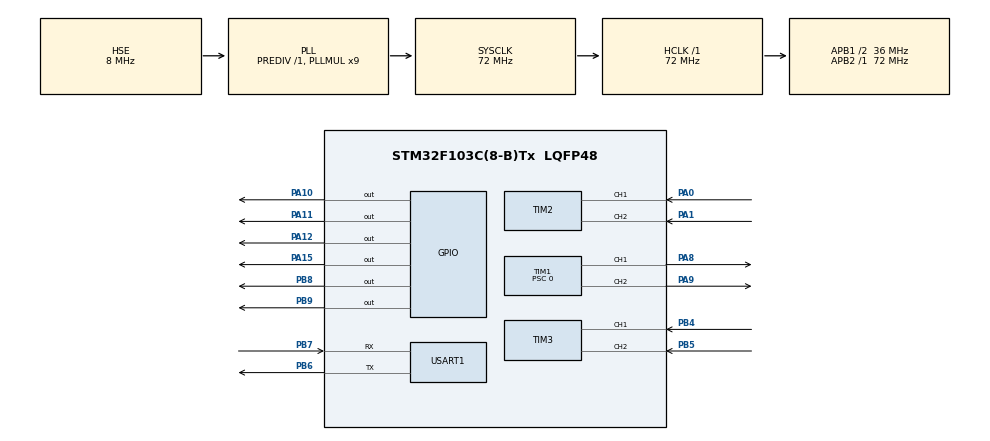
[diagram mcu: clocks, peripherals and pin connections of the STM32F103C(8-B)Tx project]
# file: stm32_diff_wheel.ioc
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Dma.Request0=USART1_RX
Dma.Request1=USART1_TX
Dma.USART1_RX.0.Direction=DMA_PERIPH_TO_MEMORY
Dma.USART1_RX.0.Instance=DMA1_Channel5
Dma.USART1_RX.0.MemDataAlignment=DMA_MDATAALIGN_BYTE
Dma.USART1_RX.0.MemInc=DMA_MINC_ENABLE
Dma.USART1_RX.0.Mode=DMA_CIRCULAR
Dma.USART1_RX.0.PeriphDataAlignment=DMA_PDATAALIGN_BYTE
Dma.USART1_RX.0.PeriphInc=DMA_PINC_DISABLE
Dma.USART1_RX.0.Priority=DMA_PRIORITY_VERY_HIGH
Dma.USART1_TX.1.Direction=DMA_MEMORY_TO_PERIPH
Dma.USART1_TX.1.Instance=DMA1_Channel4
Dma.USART1_TX.1.MemDataAlignment=DMA_MDATAALIGN_BYTE
Dma.USART1_TX.1.MemInc=DMA_MINC_ENABLE
Dma.USART1_TX.1.Mode=DMA_NORMAL
Dma.USART1_TX.1.PeriphDataAlignment=DMA_PDATAALIGN_BYTE
Dma.USART1_TX.1.PeriphInc=DMA_PINC_DISABLE
Dma.USART1_TX.1.Priority=DMA_PRIORITY_VERY_HIGH
Mcu.Family=STM32F1
Mcu.Name=STM32F103C(8-B)Tx
Mcu.Package=LQFP48
NVIC.DMA1_Channel4_IRQn=true\:0\:0\:true\:false\:true\:false\:true\:true
NVIC.DMA1_Channel5_IRQn=true\:0\:0\:true\:false\:true\:false\:true\:true
NVIC.PriorityGroup=NVIC_PRIORITYGROUP_4
NVIC.TIM4_IRQn=true\:0\:0\:false\:false\:true\:true\:true\:true
NVIC.USART1_IRQn=true\:0\:0\:true\:false\:true\:true\:true\:true
PA0-WKUP.Signal=S_TIM2_CH1_ETR
PA1.Signal=S_TIM2_CH2
PA10.Signal=GPIO_Output
PA11.Signal=GPIO_Output
PA12.Signal=GPIO_Output
PA13.Mode=Serial_Wire
PA13.Signal=SYS_JTMS-SWDIO
PA14.Mode=Serial_Wire
PA14.Signal=SYS_JTCK-SWCLK
PA15.Signal=GPIO_Output
PA8.Signal=S_TIM1_CH1
PA9.Signal=S_TIM1_CH2
PB4.Signal=S_TIM3_CH1
PB5.Signal=S_TIM3_CH2
PB6.Mode=Asynchronous
PB6.Signal=USART1_TX
PB7.Mode=Asynchronous
PB7.Signal=USART1_RX
PB8.GPIO_ModeDefaultOutputPP=GPIO_MODE_OUTPUT_OD
PB8.GPIO_PuPd=GPIO_NOPULL
PB8.Signal=GPIO_Output
PB9.GPIO_ModeDefaultOutputPP=GPIO_MODE_OUTPUT_OD
PB9.GPIO_PuPd=GPIO_NOPULL
PB9.Signal=GPIO_Output
PC14-OSC32_IN.Mode=LSE-External-Oscillator
PC14-OSC32_IN.Signal=RCC_OSC32_IN
PC15-OSC32_OUT.Mode=LSE-External-Oscillator
PC15-OSC32_OUT.Signal=RCC_OSC32_OUT
PD0-OSC_IN.Mode=HSE-External-Oscillator
PD0-OSC_IN.Signal=RCC_OSC_IN
PD1-OSC_OUT.Mode=HSE-External-Oscillator
PD1-OSC_OUT.Signal=RCC_OSC_OUT
ProjectManager.HeapSize=0x200
ProjectManager.StackSize=0x400
ProjectManager.TargetToolchain=STM32CubeIDE
RCC.AHBFreq_Value=72000000
RCC.APB1CLKDivider=RCC_HCLK_DIV2
RCC.APB1Freq_Value=36000000
RCC.APB1TimFreq_Value=72000000
RCC.APB2Freq_Value=72000000
RCC.APB2TimFreq_Value=72000000
RCC.HCLKFreq_Value=72000000
RCC.PLLMUL=RCC_PLL_MUL9
RCC.PLLSourceVirtual=RCC_PLLSOURCE_HSE
RCC.SYSCLKFreq_VALUE=72000000
RCC.SYSCLKSource=RCC_SYSCLKSOURCE_PLLCLK
RCC.USBFreq_Value=72000000
SH.S_TIM1_CH1.0=TIM1_CH1,PWM Generation1 CH1
SH.S_TIM1_CH2.0=TIM1_CH2,PWM Generation2 CH2
SH.S_TIM2_CH1_ETR.0=TIM2_CH1,Encoder_Interface
SH.S_TIM2_CH2.0=TIM2_CH2,Encoder_Interface
SH.S_TIM3_CH1.0=TIM3_CH1,Encoder_Interface
SH.S_TIM3_CH2.0=TIM3_CH2,Encoder_Interface
TIM1.Channel-PWM\ Generation1\ CH1=TIM_CHANNEL_1
TIM1.Channel-PWM\ Generation2\ CH2=TIM_CHANNEL_2
TIM1.OCMode_PWM-PWM\ Generation1\ CH1=TIM_OCMODE_PWM1
TIM1.OCMode_PWM-PWM\ Generation2\ CH2=TIM_OCMODE_PWM1
TIM1.Period=36000-1
TIM1.Prescaler=0
TIM2.EncoderMode=TIM_ENCODERMODE_TI12
TIM3.EncoderMode=TIM_ENCODERMODE_TI12
TIM4.Period=7199
TIM4.Prescaler=499
USART1.Parity=PARITY_NONE
USART1.VirtualMode=VM_ASYNC
VP_TIM1_VS_ClockSourceINT.Mode=Internal
VP_TIM4_VS_ClockSourceINT.Mode=Internal
board=custom

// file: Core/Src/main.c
/* USER CODE BEGIN Header */
/**
 ******************************************************************************
 * @file           : main.c
 * @brief          : Main program body
 ******************************************************************************
 * @attention
 *
 * Copyright (c) 2024 STMicroelectronics.
 * All rights reserved.
 *
 * This software is licensed under terms that can be found in the LICENSE file
 * in the root directory of this software component.
 * If no LICENSE file comes with this software, it is provided AS-IS.
 *
 ******************************************************************************
 */
/* USER CODE END Header */
#include "main.h"
#include "dma.h"
#include "tim.h"
#include "usart.h"
#include "gpio.h"

/* USER CODE BEGIN Includes */
#include "motor.h"
#include "message.h"
#include <stdio.h>
#include "IIC.h"
#include "mpu6050.h"
#include "inv_mpu.h"
#include "inv_mpu_dmp_motion_driver.h"
/* USER CODE END Includes */

/* USER CODE BEGIN PV */
int timer_dma = 0;
float yaw;
/* USER CODE END PV */

void SystemClock_Config(void);

/* USER CODE BEGIN 0 */
// Trigger every 50 million seconds
void HAL_TIM_PeriodElapsedCallback(TIM_HandleTypeDef *htim) {
	if (htim == (&htim4)) {
		Chassis_Update();
		if (timer_dma == 5) {
			// Send_frequency 5Hz
			Send_ChassisData();
			timer_dma = 0;
		}
		timer_dma++;
	}
}
/* USER CODE END 0 */

int main(void)
{

  /* MCU Configuration--------------------------------------------------------*/

  /* Reset of all peripherals, Initializes the Flash interface and the Systick. */
  HAL_Init();

  /* Configure the system clock */
  SystemClock_Config();

  /* Initialize all configured peripherals */
  MX_GPIO_Init();
  MX_DMA_Init();
  MX_USART1_UART_Init();
  MX_TIM1_Init();
  MX_TIM2_Init();
  MX_TIM3_Init();
  MX_TIM4_Init();
  /* USER CODE BEGIN 2 */
	// Wait to start
	HAL_Delay(500);
	Chassis_Init();
	HAL_TIM_Base_Start_IT(&htim4);
	MPU_Init();
	mpu_dmp_init();
  /* USER CODE END 2 */

  /* Infinite loop */
  /* USER CODE BEGIN WHILE */
	while (1) {
		while (mpu_dmp_get_data(&yaw));
		HAL_Delay(200);
    /* USER CODE END WHILE */

	}
}

void SystemClock_Config(void)
{
  RCC_OscInitTypeDef RCC_OscInitStruct = {0};
  RCC_ClkInitTypeDef RCC_ClkInitStruct = {0};

  /** Initializes the RCC Oscillators according to the specified parameters
  * in the RCC_OscInitTypeDef structure.
  */
  RCC_OscInitStruct.OscillatorType = RCC_OSCILLATORTYPE_HSE;
  RCC_OscInitStruct.HSEState = RCC_HSE_ON;
  RCC_OscInitStruct.HSEPredivValue = RCC_HSE_PREDIV_DIV1;
  RCC_OscInitStruct.HSIState = RCC_HSI_ON;
  RCC_OscInitStruct.PLL.PLLState = RCC_PLL_ON;
  RCC_OscInitStruct.PLL.PLLSource = RCC_PLLSOURCE_HSE;
  RCC_OscInitStruct.PLL.PLLMUL = RCC_PLL_MUL9;
  if (HAL_RCC_OscConfig(&RCC_OscInitStruct) != HAL_OK)
  {
    Error_Handler();
  }

  /** Initializes the CPU, AHB and APB buses clocks
  */
  RCC_ClkInitStruct.ClockType = RCC_CLOCKTYPE_HCLK|RCC_CLOCKTYPE_SYSCLK
                              |RCC_CLOCKTYPE_PCLK1|RCC_CLOCKTYPE_PCLK2;
  RCC_ClkInitStruct.SYSCLKSource = RCC_SYSCLKSOURCE_PLLCLK;
  RCC_ClkInitStruct.AHBCLKDivider = RCC_SYSCLK_DIV1;
  RCC_ClkInitStruct.APB1CLKDivider = RCC_HCLK_DIV2;
  RCC_ClkInitStruct.APB2CLKDivider = RCC_HCLK_DIV1;

  if (HAL_RCC_ClockConfig(&RCC_ClkInitStruct, FLASH_LATENCY_2) != HAL_OK)
  {
    Error_Handler();
  }
}

void Error_Handler(void)
{
	__disable_irq();
	while (1) {
	}
}
